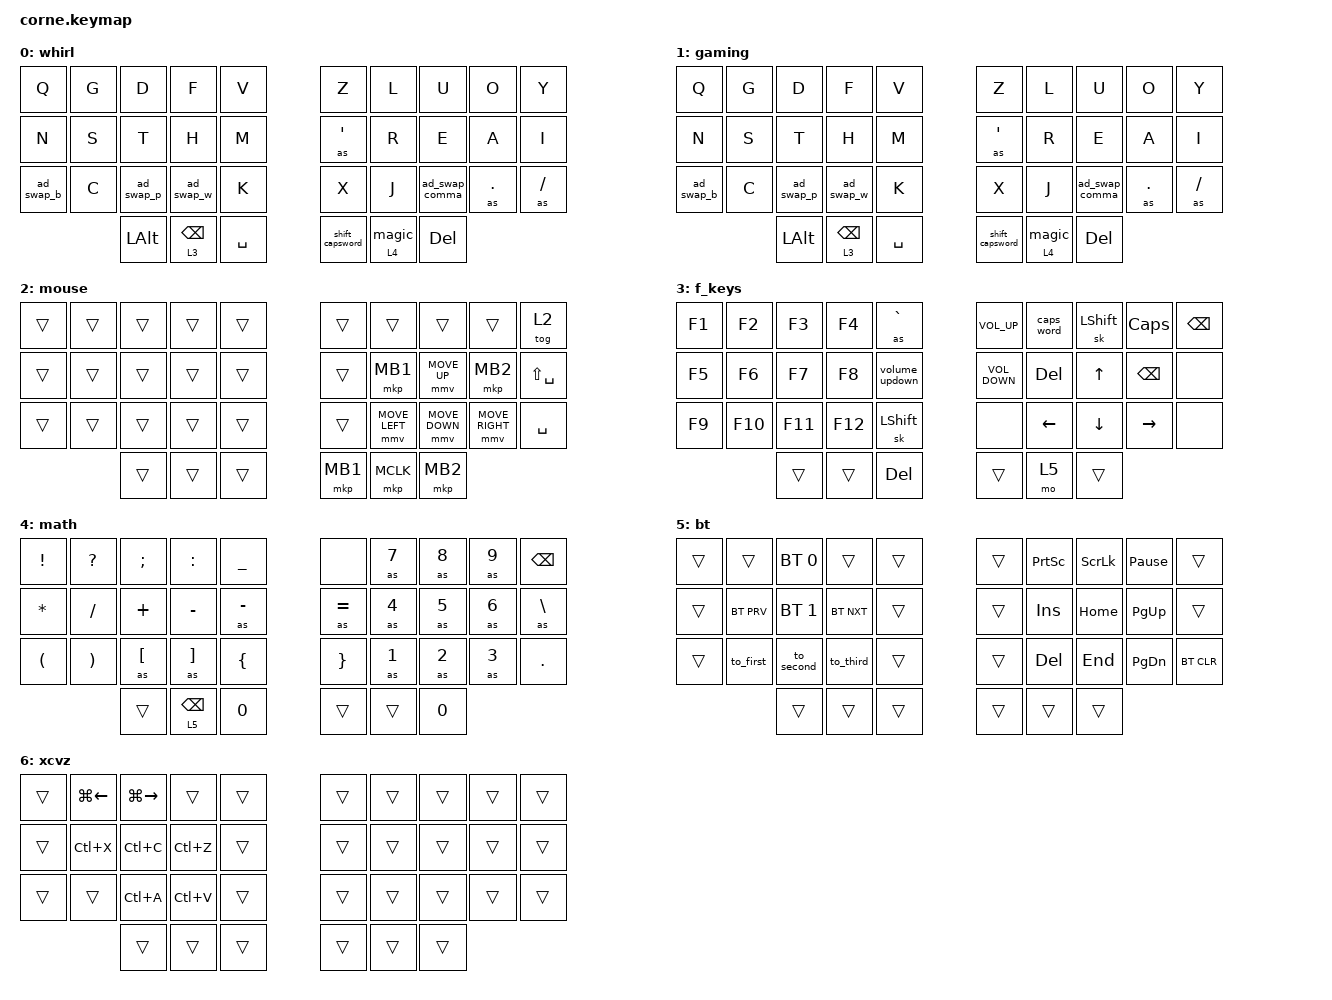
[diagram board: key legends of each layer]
/*
 * Copyright (c) 2020 The ZMK Contributors
 *
 * SPDX-License-Identifier: MIT
 */

#define ZMK_POINTING_DEFAULT_MOVE_VAL 2500  // default is 600

#include <behaviors.dtsi>
#include <dt-bindings/zmk/bt.h>
#include <dt-bindings/zmk/keys.h>
#include <dt-bindings/zmk/pointing.h>

/ {
    chosen { zmk,matrix_transform = &five_column_transform; };
};

&lt {
    tapping-term-ms = <140>; // Default is 200ms; decrease for faster layer activation
};

&mt {
    tapping-term-ms = <150>;
    flavor = "tap-preferred";
};

&sk { quick-release; };

/ {
    combos {
        compatible = "zmk,combos";

        // Tab / Shift+Tab

        tab {
            bindings = <&kp TAB>;
            key-positions = <0 1>;
            layers = <0 1 3 4 5>;
            timeout-ms = <30>;
        };

        shift_tab {
            bindings = <&kp LS(TAB)>;
            key-positions = <0 1 32>;
            layers = <0 1 3 4 5>;
        };

        // Shift
        // Ctrl

        ctrl2 {
            bindings = <&sk LCTRL>;
            key-positions = <11 12>;
            layers = <3 4 5 0>;
            timeout-ms = <18>;
            require-prior-idle-ms = <300>;
        };

        r_ctrl2 {
            bindings = <&sk RCTRL>;
            key-positions = <18 17>;
            layers = <3 4 5 0 1>;
            timeout-ms = <18>;
            require-prior-idle-ms = <300>;
        };

        // Win

        win2 {
            bindings = <&sk LEFT_WIN>;
            key-positions = <12 13>;
            layers = <3 4 5 0>;
            timeout-ms = <18>;
            require-prior-idle-ms = <300>;
        };

        // Shift+Ctrl

        ls_ctrl2 {
            bindings = <&sk LC(LEFT_SHIFT)>;
            key-positions = <10 11 12>;
            layers = <3 4 5 0>;
            timeout-ms = <25>;
            require-prior-idle-ms = <300>;
        };

        r_ctrl_shift2 {
            bindings = <&sk RC(RIGHT_SHIFT)>;
            key-positions = <18 17 19>;
            layers = <3 4 5 0 1>;
            timeout-ms = <25>;
            require-prior-idle-ms = <300>;
        };

        // Ctrl+Win

        l_ctrl_win2 {
            bindings = <&sk LC(LEFT_WIN)>;
            key-positions = <11 12 13>;
            layers = <3 4 5 0>;
            timeout-ms = <25>;
            require-prior-idle-ms = <300>;
        };

        // Shift+Win

        win_shift2 {
            bindings = <&sk LS(LEFT_WIN)>;
            key-positions = <10 13>;
            layers = <3 4 5 0>;
            timeout-ms = <20>;
            require-prior-idle-ms = <300>;
        };

        // Ctrl (hold)

        ctrl_two {
            bindings = <&kp LCTRL>;
            key-positions = <20 32>;
            layers = <0 1 3 4 5>;
            timeout-ms = <50>;
        };

        r_ctrl_two {
            bindings = <&kp RCTRL>;
            key-positions = <29 33>;
            layers = <0 1 3 4 5>;
            timeout-ms = <30>;
            require-prior-idle-ms = <25>;
        };

        // Shift (hold)

        l_game_shift {
            bindings = <&kp LSHFT>;
            key-positions = <10 32>;
            timeout-ms = <45>;
            layers = <0 1 3 4 5>;
        };

        // Unpaired

        instant_win {
            bindings = <&kp LEFT_WIN>;
            key-positions = <24 23>;
            layers = <0 1 3 4 5>;
            timeout-ms = <25>;
            require-prior-idle-ms = <300>;
        };

        esc_two {
            bindings = <&kp ESCAPE>;
            key-positions = <32 12>;
            layers = <0 1 3 4 5>;
            timeout-ms = <25>;
            require-prior-idle-ms = <300>;
        };

        printscreen {
            bindings = <&kp PRINTSCREEN>;
            key-positions = <24 23 32>;
            layers = <0 1>;
        };

        record {
            bindings = <&kp LG(LA(G))>;
            key-positions = <22 23 24 32>;
            layers = <0 1>;
        };

        winAltPrintscreen {
            bindings = <&kp LG(LA(PRINTSCREEN))>;
            key-positions = <24 23 32>;
            layers = <4>;
        };

        enter1 {
            bindings = <&kp ENTER>;
            key-positions = <24 32>;
            timeout-ms = <35>;
            layers = <0 1>;
        };

        shift_alt {
            bindings = <&kp LS(LEFT_ALT)>;
            key-positions = <30 10>;
            layers = <0 1>;
        };

        ctrl_alt {
            bindings = <&kp LC(LEFT_ALT)>;
            key-positions = <20 30>;
            layers = <0 1>;
        };

        q {
            bindings = <&kp Q>;
            key-positions = <21 23>;
            layers = <0 1>;
            timeout-ms = <30>;
        };

        to_mouse {
            bindings = <&tog 2>;
            key-positions = <34 35>;
            layers = <0 1 2>;
        };

        other_enter {
            bindings = <&kp ENTER>;
            key-positions = <27 28>;
            layers = <0 1>;
        };

        to_xcvz2 {
            bindings = <&sl 6>;
            key-positions = <31 20>;
            timeout-ms = <50>;
            layers = <0 1>;
        };

        win_shift_r {
            bindings = <&sk LS(LEFT_WIN)>;
            key-positions = <16 19>;
            timeout-ms = <20>;
            require-prior-idle-ms = <300>;
            layers = <3 4 5 0 1>;
        };

        ctrl_win_r {
            bindings = <&sk LC(LEFT_WIN)>;
            key-positions = <16 17 18>;
            timeout-ms = <25>;
            require-prior-idle-ms = <300>;
            layers = <3 4 5 0 1>;
        };
    };

    behaviors {
        as_ht: autoshift_hold_tap {
            compatible = "zmk,behavior-hold-tap";
            label = "AUTOSHIFT_HOLD_TAP";
            #binding-cells = <2>;
            tapping-term-ms = <170>;
            quick-tap-ms = <0>;
            flavor = "tap-preferred";
            bindings = <&shifted>, <&kp>;
        };

        volume_updown: volume_updown {
            compatible = "zmk,behavior-tap-dance";
            label = "VOLUME_UPDOWN";
            #binding-cells = <0>;
            bindings = <&kp C_VOLUME_UP>, <&kp C_VOLUME_DOWN>;
        };

        lt_200: lt_200 {
            compatible = "zmk,behavior-hold-tap";
            label = "LT_200";
            bindings = <&mo>, <&kp>;

            #binding-cells = <2>;
            flavor = "tap-preferred";
            tapping-term-ms = <200>;
            quick-tap-ms = <150>;
        };

        ad_swap_u_io: adaptive_u_io {
            compatible = "zmk,behavior-adaptive-key";
            #binding-cells = <0>;
            bindings = <&kp I>;

            /* Swap behavior parameters */

            the_swap {
                trigger-keys = <U>;
                bindings = <&kp O>;
                max-prior-idle-ms = <120>;
            };
        };

        ad_swap_u_oi: adaptive_u_oi {
            compatible = "zmk,behavior-adaptive-key";
            #binding-cells = <0>;
            bindings = <&kp O>;

            /* Swap behavior parameters */

            the_swap {
                trigger-keys = <U>;
                bindings = <&kp I>;
                max-prior-idle-ms = <120>;
            };
        };

        ad_swap_comma: ad_swap_comma {
            compatible = "zmk,behavior-adaptive-key";
            #binding-cells = <0>;
            bindings = <&as COMMA>;

            /* Swap behavior parameters */

            the_swap {
                trigger-keys = <J>;
                bindings = <&kp U>;
                max-prior-idle-ms = <200>;
            };
        };

        ad_swap_j: ad_swap_j {
            compatible = "zmk,behavior-adaptive-key";
            #binding-cells = <0>;
            bindings = <&kp J>;

            /* Swap behavior parameters */

            the_swap {
                trigger-keys = <R>;
                bindings = <&kp L>;
            };
        };

        ad_swap_b: ad_swap_b {
            compatible = "zmk,behavior-adaptive-key";
            #binding-cells = <0>;
            bindings = <&kp B>;

            /* Swap behavior parameters */

            the_swap {
                trigger-keys = <P>;
                bindings = <&kp D>;
                max-prior-idle-ms = <120>;
            };
        };

        ad_swap_w: ad_swap_w {
            compatible = "zmk,behavior-adaptive-key";
            #binding-cells = <0>;
            bindings = <&kp W>; //second letter
            /* Swap behavior parameters */

            the_swap {
                trigger-keys = <P>;  //first letter
                bindings = <&kp T>;  //third letter
                max-prior-idle-ms = <120>;
            };

            the_swap2 {
                trigger-keys = <G>;  //first letter
                bindings = <&kp S>;  //third letter
                max-prior-idle-ms = <120>;
            };

            the_swap3 {
                trigger-keys = <C>;  //first letter
                bindings = <&kp H>;  //third letter
                max-prior-idle-ms = <120>;
            };
        };

        ad_swap_p: ad_swap_p {
            compatible = "zmk,behavior-adaptive-key";
            #binding-cells = <0>;
            bindings = <&kp P>;

            /* Swap behavior parameters */

            the_swap {
                trigger-keys = <W>;
                bindings = <&kp H>;
                max-prior-idle-ms = <120>;
            };
        };

        ad_swap_x: ad_swap_x {
            compatible = "zmk,behavior-adaptive-key";
            #binding-cells = <0>;
            bindings = <&kp X>;

            /* Swap behavior parameters */

            the_swap {
                trigger-keys = <G>;
                bindings = <&kp S>;
                max-prior-idle-ms = <120>;
            };
        };

        ad_swap_d: ad_swap_d {
            compatible = "zmk,behavior-adaptive-key";
            #binding-cells = <0>;
            bindings = <&kp D>;

            /* Swap behavior parameters */

            the_swap {
                trigger-keys = <G>;
                bindings = <&kp Y>;
                max-prior-idle-ms = <120>;
            };
        };

        ad_swap_r: ad_swap_r {
            compatible = "zmk,behavior-adaptive-key";
            #binding-cells = <0>;
            bindings = <&kp R>;

            /* Swap behavior parameters */

            the_swap {
                trigger-keys = <N>;
                bindings = <&kp APOS>;
                max-prior-idle-ms = <120>;
            };
        };

        ad_swap_k: ad_swap_k {
            compatible = "zmk,behavior-adaptive-key";
            #binding-cells = <0>;
            bindings = <&kp K>;

            /* Swap behavior parameters */

            the_swap {
                trigger-keys = <P>;
                bindings = <&kp H>;
                max-prior-idle-ms = <120>;
            };
        };

        ad_swap_h: ad_swap_h {
            compatible = "zmk,behavior-adaptive-key";
            #binding-cells = <0>;
            bindings = <&kp H>;

            /* Swap behavior parameters */

            the_swap {
                trigger-keys = <R>;
                bindings = <&kp L>;
                max-prior-idle-ms = <120>;
            };
        };

        ad_swap_g: ad_swap_g {
            compatible = "zmk,behavior-adaptive-key";
            #binding-cells = <0>;
            bindings = <&kp G>;

            /* Swap behavior parameters */

            the_swap {
                trigger-keys = <T>;
                bindings = <&kp W>;
                max-prior-idle-ms = <120>;
            };
        };

        magic: magic {
            compatible = "zmk,behavior-adaptive-key";
            #binding-cells = <0>;
            bindings = <&key_repeat>;

            u_apos {
                trigger-keys = <U>;
                bindings = <&macro_uapos>;
            };

            i_apos {
                trigger-keys = <I>;
                bindings = <&macro_iapos>;
            };

            a_y {
                trigger-keys = <A>;
                bindings = <&macro_ay>;
            };

            y_apos {
                trigger-keys = <Y>;
                bindings = <&macro_yapos>;
            };

            w_h {
                trigger-keys = <W>;
                bindings = <&macro_wh>;
            };
        };

        hold_layer_tap_magic: hold_layer_tap_magic {
            compatible = "zmk,behavior-hold-tap";
            #binding-cells = <2>;
            flavor = "tap-preferred";
            tapping-term-ms = <150>;
            bindings = <&mo>, <&magic>;
        };

        shift_capsword: shift_capsword {
            compatible = "zmk,behavior-mod-morph";
            label = "SHIFT_CAPSWORD";
            bindings = <&sk LEFT_SHIFT>, <&caps_word>;

            #binding-cells = <0>;
            mods = <(MOD_LSFT)>;
        };

        mod_space: mod_space {
            compatible = "zmk,behavior-mod-morph";
            label = "MOD_SPACE";
            bindings = <&kp SPACE>, <&kp ENTER>;

            #binding-cells = <0>;
            mods = <(MOD_LSFT)>;
        };

        long_hold: long_hold {
            compatible = "zmk,behavior-hold-tap";
            label = "LONG_HOLD";
            bindings = <&tog>, <&kp>;

            #binding-cells = <2>;
            tapping-term-ms = <1000>;
            flavor = "tap-preferred";
        };

        shift_capsword_layer: shift_capsword_layer {
            compatible = "zmk,behavior-hold-tap";
            label = "SHIFT_CAPSWORD_LAYER";
            bindings = <&mo>, <&shift_capsword>;

            #binding-cells = <2>;
            tapping-term-ms = <150>;
            flavor = "balanced";
        };
    };

    macros {
        shifted: macro_shifted_kp {
            #binding-cells = <1>;
            label = "MACRO_SHIFTED_KP";
            compatible = "zmk,behavior-macro-one-param";
            bindings =
                <&macro_press>,
                <&kp LSHFT &macro_param_1to1>,
                <&macro_tap>,
                <&kp MACRO_PLACEHOLDER>,
                <&macro_release>,
                <&kp LSHFT>;
        };

        as: autoshift {
            compatible = "zmk,behavior-macro-one-param";
            #binding-cells = <1>;
            label = "AUTOSHIFT_KP";
            bindings =
                <&macro_press>,
                <&macro_param_1to1 &macro_param_1to2 &as_ht MACRO_PLACEHOLDER MACRO_PLACEHOLDER>,
                <&macro_pause_for_release>,
                <&macro_release>,
                <&macro_param_1to1 &macro_param_1to2 &as_ht MACRO_PLACEHOLDER MACRO_PLACEHOLDER>;
        };

        to_first: to_first {
            compatible = "zmk,behavior-macro";
            #binding-cells = <0>;
            bindings = <&macro_tap>, <&kp LC(LA(F13)) &to 0>;
        };

        to_second: to_second {
            compatible = "zmk,behavior-macro";
            #binding-cells = <0>;
            bindings = <&macro_tap>, <&kp LC(LA(F14)) &to 0>;
        };

        qu: qu {
            compatible = "zmk,behavior-macro";
            #binding-cells = <0>;
            bindings = <&kp Q &kp U>;
            label = "QU";
        };

        to_third: to_third {
            compatible = "zmk,behavior-macro";
            #binding-cells = <0>;
            bindings = <&macro_tap>, <&kp LC(LA(F15)) &to 1>;

            label = "TO_THIRD";
        };

        macro_uapos: macro_uapos {
            compatible = "zmk,behavior-macro";
            #binding-cells = <0>;
            bindings = <&kp APOS>;
        };

        macro_wh: macro_wh {
            compatible = "zmk,behavior-macro";
            #binding-cells = <0>;
            bindings = <&kp H>;
        };

        macro_yapos: macro_yapos {
            compatible = "zmk,behavior-macro";
            #binding-cells = <0>;
            bindings = <&kp APOS>;
        };

        macro_iapos: macro_iapos {
            compatible = "zmk,behavior-macro";
            #binding-cells = <0>;
            bindings = <&kp APOS>;
        };

        macro_the: macro_the {
            compatible = "zmk,behavior-macro";
            #binding-cells = <0>;
            bindings = <&kp T &kp H &kp E &kp SPACE>;
        };

        macro_ay: macro_ay {
            compatible = "zmk,behavior-macro";
            #binding-cells = <0>;
            bindings = <&kp Y>;
        };

        macro_hy: macro_hy {
            compatible = "zmk,behavior-macro";
            #binding-cells = <0>;
            bindings = <&kp Y>;
        };

        macro_kn: macro_kn {
            compatible = "zmk,behavior-macro";
            #binding-cells = <0>;
            bindings = <&kp N>;
        };

        macro_nk: macro_nk {
            compatible = "zmk,behavior-macro";
            #binding-cells = <0>;
            bindings = <&kp K>;
        };

        macro_rl: macro_rl {
            compatible = "zmk,behavior-macro";
            #binding-cells = <0>;
            bindings = <&kp L>;
        };

        rl: rl {
            compatible = "zmk,behavior-macro";
            #binding-cells = <0>;
            bindings = <&kp R &kp L>;
            label = "RL";
        };
    };

    keymap {
        compatible = "zmk,keymap";

        whirl {
            label = "whirl";
            bindings = <
  &kp Q       &kp G  &kp D         &kp F            &kp V        &kp Z            &kp L                      &kp U           &kp O    &kp Y
  &kp N       &kp S  &kp T         &kp H            &kp M        &as APOS         &kp R                      &kp E           &kp A    &kp I
  &ad_swap_b  &kp C  &ad_swap_p    &ad_swap_w       &kp K        &kp X            &kp J                      &ad_swap_comma  &as DOT  &as SLASH
                     &kp LEFT_ALT  &lt 3 BACKSPACE  &kp SPACE    &shift_capsword  &hold_layer_tap_magic 4 0  &kp DEL
            >;
        };

        gaming {
            label = "gaming";
            bindings = <
  &kp Q       &kp G  &kp D         &kp F            &kp V        &kp Z            &kp L                      &kp U           &kp O    &kp Y
  &kp N       &kp S  &kp T         &kp H            &kp M        &as APOS         &kp R                      &kp E           &kp A    &kp I
  &ad_swap_b  &kp C  &ad_swap_p    &ad_swap_w       &kp K        &kp X            &kp J                      &ad_swap_comma  &as DOT  &as SLASH
                     &kp LEFT_ALT  &lt 3 BACKSPACE  &kp SPACE    &shift_capsword  &hold_layer_tap_magic 4 0  &kp DEL
            >;
        };

        mouse {
            bindings = <
  &trans  &trans  &trans  &trans  &trans    &trans    &trans          &trans          &trans           &tog 2
  &trans  &trans  &trans  &trans  &trans    &trans    &mkp MB1        &mmv MOVE_UP    &mkp MB2         &kp LS(SPACE)
  &trans  &trans  &trans  &trans  &trans    &trans    &mmv MOVE_LEFT  &mmv MOVE_DOWN  &mmv MOVE_RIGHT  &kp SPACE
                  &trans  &trans  &trans    &mkp MB1  &mkp MCLK       &mkp MB2
            >;

            label = "mouse";
        };

        f_keys {
            label = "f_keys";
            bindings = <
  &kp F1  &kp F2   &kp F3   &kp F4   &as GRAVE         &kp C_VOLUME_UP    &caps_word  &sk LEFT_SHIFT  &kp CAPSLOCK   &kp BACKSPACE
  &kp F5  &kp F6   &kp F7   &kp F8   &volume_updown    &kp C_VOLUME_DOWN  &kp DEL     &kp UP_ARROW    &kp BACKSPACE  &none
  &kp F9  &kp F10  &kp F11  &kp F12  &sk LSHIFT        &none              &kp LEFT    &kp DOWN        &kp RIGHT      &none
                   &trans   &trans   &kp DEL           &trans             &mo 5       &trans
            >;
        };

        math {
            label = "math";
            bindings = <
  &kp EXCLAMATION       &kp QUESTION           &kp SEMI          &kp COLON          &kp UNDERSCORE    &none            &as NUMBER_7  &as NUMBER_8  &as NUMBER_9  &kp BACKSPACE
  &kp ASTERISK          &kp SLASH              &kp PLUS          &kp MINUS          &as MINUS         &as EQUAL        &as NUMBER_4  &as NUMBER_5  &as NUMBER_6  &as BACKSLASH
  &kp LEFT_PARENTHESIS  &kp RIGHT_PARENTHESIS  &as LEFT_BRACKET  &as RIGHT_BRACKET  &kp LEFT_BRACE    &kp RIGHT_BRACE  &as NUMBER_1  &as NUMBER_2  &as NUMBER_3  &kp PERIOD
                                               &trans            &lt 5 BACKSPACE    &kp NUMBER_0      &trans           &trans        &kp NUMBER_0
            >;
        };

        bt {
            label = "bt";
            bindings = <
  &trans  &trans      &bt BT_SEL 0  &trans      &trans    &trans  &kp PRINTSCREEN  &kp SCROLLLOCK  &kp PAUSE_BREAK  &trans
  &trans  &bt BT_PRV  &bt BT_SEL 1  &bt BT_NXT  &trans    &trans  &kp INSERT       &kp HOME        &kp PAGE_UP      &trans
  &trans  &to_first   &to_second    &to_third   &trans    &trans  &kp DELETE       &kp END         &kp PAGE_DOWN    &bt BT_CLR
                      &trans        &trans      &trans    &trans  &trans           &trans
            >;
        };

        xcvz {
            bindings = <
  &trans  &kp LG(LEFT)  &kp LG(RIGHT)  &trans     &trans    &trans  &trans  &trans  &trans  &trans
  &trans  &kp LC(X)     &kp LC(C)      &kp LC(Z)  &trans    &trans  &trans  &trans  &trans  &trans
  &trans  &trans        &kp LC(A)      &kp LC(V)  &trans    &trans  &trans  &trans  &trans  &trans
                        &trans         &trans     &trans    &trans  &trans  &trans
            >;

            label = "xcvz";
        };
    };
};
